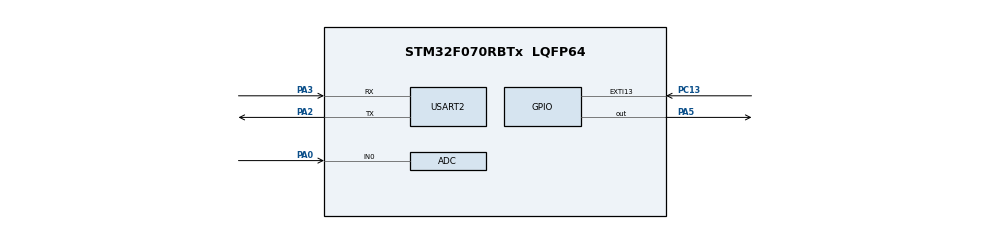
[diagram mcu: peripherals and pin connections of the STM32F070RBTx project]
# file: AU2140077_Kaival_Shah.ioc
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Mcu.Family=STM32F0
Mcu.Name=STM32F070RBTx
Mcu.Package=LQFP64
NVIC.EXTI4_15_IRQn=true\:0\:0\:false\:false\:true\:true\:true\:true
NVIC.TIM16_IRQn=true\:0\:0\:false\:false\:true\:true\:true\:true
PA0.Mode=IN0
PA0.Signal=ADC_IN0
PA2.Mode=Asynchronous
PA2.Signal=USART2_TX
PA3.Mode=Asynchronous
PA3.Signal=USART2_RX
PA5.Signal=GPIO_Output
PC13.GPIO_ModeDefaultEXTI=GPIO_MODE_IT_RISING_FALLING
PC13.Signal=GPXTI13
ProjectManager.HeapSize=0x200
ProjectManager.StackSize=0x400
ProjectManager.TargetToolchain=MDK-ARM V5.32
TIM16.Period=2000-1
TIM16.Prescaler=8000-1
USART2.VirtualMode-Asynchronous=VM_ASYNC
VP_TIM16_VS_ClockSourceINT.Mode=Enable_Timer
board=custom

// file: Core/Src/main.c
/* USER CODE BEGIN Header */
/**
  ******************************************************************************
  * @file           : main.c
  * @brief          : Main program body
  ******************************************************************************
  * @attention
  *
  * Copyright (c) 2023 STMicroelectronics.
  * All rights reserved.
  *
  * This software is licensed under terms that can be found in the LICENSE file
  * in the root directory of this software component.
  * If no LICENSE file comes with this software, it is provided AS-IS.
  *
  ******************************************************************************
  */
/* USER CODE END Header */
#include "main.h"

ADC_HandleTypeDef hadc;

TIM_HandleTypeDef htim16;

UART_HandleTypeDef huart2;

/* USER CODE BEGIN PV */
uint32_t counts;
int ledCnt = 0;
int prevCnt = 0;
char tx_buffer1[] = "\n3.3 V\n";
int size1 = sizeof(tx_buffer1)/sizeof(char);
char tx_buffer2[] = "\nGround\n";
int size2 = sizeof(tx_buffer2)/sizeof(char);
char tx_buffer3[] = "\nInadequate\n";
int size3 = sizeof(tx_buffer3)/sizeof(char);

int pressed = 0;
/* USER CODE END PV */

void SystemClock_Config(void);
static void MX_GPIO_Init(void);
static void MX_ADC_Init(void);
static void MX_TIM16_Init(void);
static void MX_USART2_UART_Init(void);

/* USER CODE BEGIN 0 */
void HAL_TIM_PeriodElapsedCallback(TIM_HandleTypeDef *htim){
	if (pressed == 1){
		HAL_GPIO_TogglePin(GPIOA,GPIO_PIN_5);
		ledCnt++;
	}
		HAL_TIM_Base_Stop_IT(&htim16);

}

void HAL_GPIO_EXTI_Callback(uint16_t GPIO_Pin){
	HAL_TIM_Base_Start_IT(&htim16);
	if (pressed == 0) pressed=1;
	else pressed=0;

}
/* USER CODE END 0 */

int main(void)
{

  /* MCU Configuration--------------------------------------------------------*/

  /* Reset of all peripherals, Initializes the Flash interface and the Systick. */
  HAL_Init();

  /* Configure the system clock */
  SystemClock_Config();

  /* Initialize all configured peripherals */
  MX_GPIO_Init();
  MX_ADC_Init();
  MX_TIM16_Init();
  MX_USART2_UART_Init();

  /* Infinite loop */
  while (1)
  {

    /* USER CODE BEGIN 3 */

		if (ledCnt > prevCnt){
			prevCnt = ledCnt;
						HAL_UART_Transmit(&huart2,(uint8_t*)&ledCnt,sizeof(ledCnt),100);
		}

		HAL_ADC_Start(&hadc);
		HAL_ADC_PollForConversion(&hadc,HAL_MAX_DELAY);
		counts = HAL_ADC_GetValue(&hadc);
		HAL_ADC_Stop(&hadc);
		if (counts>3800) {
			HAL_UART_Transmit(&huart2,(uint8_t*)tx_buffer1,size1-1,100);
		}
		else if (counts<100){
			HAL_UART_Transmit(&huart2,(uint8_t*)tx_buffer2,size2-1,100);
		}
		else{
			HAL_UART_Transmit(&huart2,(uint8_t*)tx_buffer3,size3-1,100);

		}
		HAL_Delay(1000);
  }
  /* USER CODE END 3 */
}

void SystemClock_Config(void)
{
  RCC_OscInitTypeDef RCC_OscInitStruct = {0};
  RCC_ClkInitTypeDef RCC_ClkInitStruct = {0};

  /** Initializes the RCC Oscillators according to the specified parameters
  * in the RCC_OscInitTypeDef structure.
  */
  RCC_OscInitStruct.OscillatorType = RCC_OSCILLATORTYPE_HSI|RCC_OSCILLATORTYPE_HSI14;
  RCC_OscInitStruct.HSIState = RCC_HSI_ON;
  RCC_OscInitStruct.HSI14State = RCC_HSI14_ON;
  RCC_OscInitStruct.HSICalibrationValue = RCC_HSICALIBRATION_DEFAULT;
  RCC_OscInitStruct.HSI14CalibrationValue = 16;
  RCC_OscInitStruct.PLL.PLLState = RCC_PLL_NONE;
  if (HAL_RCC_OscConfig(&RCC_OscInitStruct) != HAL_OK)
  {
    Error_Handler();
  }

  /** Initializes the CPU, AHB and APB buses clocks
  */
  RCC_ClkInitStruct.ClockType = RCC_CLOCKTYPE_HCLK|RCC_CLOCKTYPE_SYSCLK
                              |RCC_CLOCKTYPE_PCLK1;
  RCC_ClkInitStruct.SYSCLKSource = RCC_SYSCLKSOURCE_HSI;
  RCC_ClkInitStruct.AHBCLKDivider = RCC_SYSCLK_DIV1;
  RCC_ClkInitStruct.APB1CLKDivider = RCC_HCLK_DIV1;

  if (HAL_RCC_ClockConfig(&RCC_ClkInitStruct, FLASH_LATENCY_0) != HAL_OK)
  {
    Error_Handler();
  }
}

static void MX_ADC_Init(void)
{

  ADC_ChannelConfTypeDef sConfig = {0};

  /** Configure the global features of the ADC (Clock, Resolution, Data Alignment and number of conversion)
  */
  hadc.Instance = ADC1;
  hadc.Init.ClockPrescaler = ADC_CLOCK_ASYNC_DIV1;
  hadc.Init.Resolution = ADC_RESOLUTION_12B;
  hadc.Init.DataAlign = ADC_DATAALIGN_RIGHT;
  hadc.Init.ScanConvMode = ADC_SCAN_DIRECTION_FORWARD;
  hadc.Init.EOCSelection = ADC_EOC_SINGLE_CONV;
  hadc.Init.LowPowerAutoWait = DISABLE;
  hadc.Init.LowPowerAutoPowerOff = DISABLE;
  hadc.Init.ContinuousConvMode = DISABLE;
  hadc.Init.DiscontinuousConvMode = DISABLE;
  hadc.Init.ExternalTrigConv = ADC_SOFTWARE_START;
  hadc.Init.ExternalTrigConvEdge = ADC_EXTERNALTRIGCONVEDGE_NONE;
  hadc.Init.DMAContinuousRequests = DISABLE;
  hadc.Init.Overrun = ADC_OVR_DATA_PRESERVED;
  if (HAL_ADC_Init(&hadc) != HAL_OK)
  {
    Error_Handler();
  }

  /** Configure for the selected ADC regular channel to be converted.
  */
  sConfig.Channel = ADC_CHANNEL_0;
  sConfig.Rank = ADC_RANK_CHANNEL_NUMBER;
  sConfig.SamplingTime = ADC_SAMPLETIME_1CYCLE_5;
  if (HAL_ADC_ConfigChannel(&hadc, &sConfig) != HAL_OK)
  {
    Error_Handler();
  }

}

static void MX_TIM16_Init(void)
{

  htim16.Instance = TIM16;
  htim16.Init.Prescaler = 8000-1;
  htim16.Init.CounterMode = TIM_COUNTERMODE_UP;
  htim16.Init.Period = 2000-1;
  htim16.Init.ClockDivision = TIM_CLOCKDIVISION_DIV1;
  htim16.Init.RepetitionCounter = 0;
  htim16.Init.AutoReloadPreload = TIM_AUTORELOAD_PRELOAD_DISABLE;
  if (HAL_TIM_Base_Init(&htim16) != HAL_OK)
  {
    Error_Handler();
  }

}

static void MX_USART2_UART_Init(void)
{

  huart2.Instance = USART2;
  huart2.Init.BaudRate = 38400;
  huart2.Init.WordLength = UART_WORDLENGTH_8B;
  huart2.Init.StopBits = UART_STOPBITS_1;
  huart2.Init.Parity = UART_PARITY_NONE;
  huart2.Init.Mode = UART_MODE_TX_RX;
  huart2.Init.HwFlowCtl = UART_HWCONTROL_NONE;
  huart2.Init.OverSampling = UART_OVERSAMPLING_16;
  huart2.Init.OneBitSampling = UART_ONE_BIT_SAMPLE_DISABLE;
  huart2.AdvancedInit.AdvFeatureInit = UART_ADVFEATURE_NO_INIT;
  if (HAL_UART_Init(&huart2) != HAL_OK)
  {
    Error_Handler();
  }

}

static void MX_GPIO_Init(void)
{
  GPIO_InitTypeDef GPIO_InitStruct = {0};

  /* GPIO Ports Clock Enable */
  __HAL_RCC_GPIOC_CLK_ENABLE();
  __HAL_RCC_GPIOA_CLK_ENABLE();

  /*Configure GPIO pin Output Level */
  HAL_GPIO_WritePin(GPIOA, GPIO_PIN_5, GPIO_PIN_RESET);

  /*Configure GPIO pin : PC13 */
  GPIO_InitStruct.Pin = GPIO_PIN_13;
  GPIO_InitStruct.Mode = GPIO_MODE_IT_RISING_FALLING;
  GPIO_InitStruct.Pull = GPIO_NOPULL;
  HAL_GPIO_Init(GPIOC, &GPIO_InitStruct);

  /*Configure GPIO pin : PA5 */
  GPIO_InitStruct.Pin = GPIO_PIN_5;
  GPIO_InitStruct.Mode = GPIO_MODE_OUTPUT_PP;
  GPIO_InitStruct.Pull = GPIO_NOPULL;
  GPIO_InitStruct.Speed = GPIO_SPEED_FREQ_LOW;
  HAL_GPIO_Init(GPIOA, &GPIO_InitStruct);

  /* EXTI interrupt init*/
  HAL_NVIC_SetPriority(EXTI4_15_IRQn, 0, 0);
  HAL_NVIC_EnableIRQ(EXTI4_15_IRQn);

}

void Error_Handler(void)
{
  __disable_irq();
  while (1)
  {
  }
}
